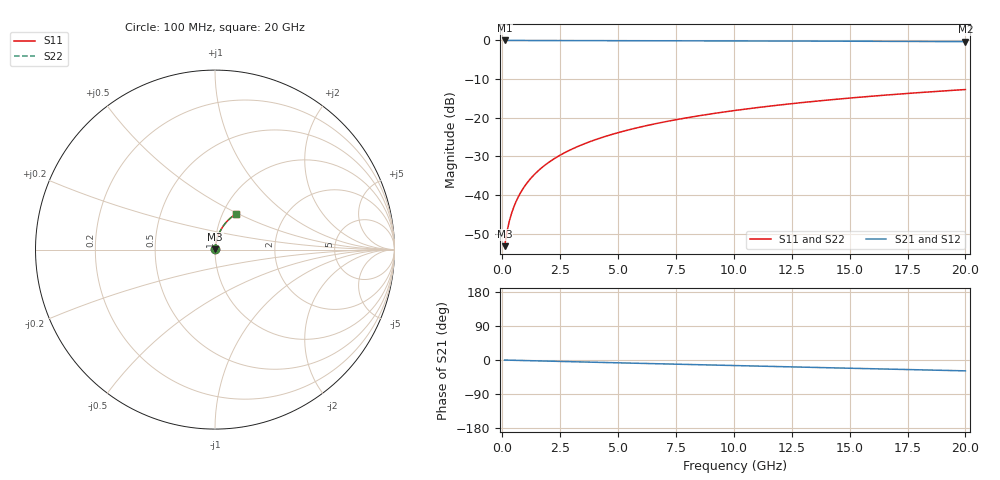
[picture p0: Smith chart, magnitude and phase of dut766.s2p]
! Touchstone file exported from HFSS 2026.1.0
!  File:  C:/ffzhzh/LocalFiles/Ansys_Project_Files/temp_train_BSMRDL_766_1783169134_22436.aedt
!  Generated:  08:46:51 PM Jul  4, 2026
!  Design:  BSMRDL
!  Project:  temp_train_BSMRDL_766_1783169134_22436
! Variables:
!  h_bsmrdl = 4.86um
!  h_ox = 20um
!  h_rdl = 5um
!  h_sub = 80um
!  h_tmrdl = 5um
!  h_tsv = 80um
!  h_via = 3um
!  l_bsmrdl = 430.03um
!  l_sub = 830.03um
!  l_tmrdl = 200um
!  m_sub = 200um
!  pitch = 41.58um
!  r_tsv = 6um
!  s_tmrdl = 10um
!  w_bsmrdl = 21.82um
!  w_sub = 500um
!  w_tmrdl = 12um
!  x_tsv_center1 = 206um
!  x_tsv_center2 = 657.85um
!  x_tsv_center3 = 869.85um
!  x_tsv_center4 = 1321.7um
!  x_tsv_center5 = 1533.7um
!  x_tsv_center6 = 1985.55um
# GHz S MA R 50.000000
! Terminal data exported
! Port[1] = BSM_RDL1_1_T1
! Port[2] = BSM_RDL1_1_T2
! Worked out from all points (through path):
!   200 points, 100 MHz to 20 GHz, reference 50 ohm
!   highest |S21| = -0.01 dB at 100 MHz (marker M1); lowest = -0.3 dB at 20 GHz (marker M2)
!   group delay of S21, straight-line fit = 3.97 ps
!   lowest |S11| = -53.2 dB at 100 MHz (marker M3), VSWR 1.00, Z = 50.2 + j0.147 ohm
!   |S11| at or under -10 dB: start of sweep to end of sweep
!   |S22| runs from -53.2 to -12.7 dB; largest |S21 - S12| = 2.1e-15
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0.1  0.002182 42.3  0.9984 -0.2  0.9984 -0.2  0.002182 42.3
! Gamma 0 0 0 0
! Port Impedance 50 0 50 0
0.2  0.003335 58.5  0.9983 -0.3  0.9983 -0.3  0.003335 58.5
0.3  0.004552 66.0  0.9982 -0.5  0.9982 -0.5  0.004552 66.0
0.4  0.005789 70.4  0.9981 -0.6  0.9981 -0.6  0.005789 70.4
0.5  0.007043 73.4  0.9981 -0.8  0.9981 -0.8  0.007043 73.4
0.6  0.00831 75.4  0.998 -0.9  0.998 -0.9  0.00831 75.4
0.8  0.01087 78.0  0.9979 -1.2  0.9979 -1.2  0.01087 78.0
1.1  0.01475 80.1  0.9978 -1.7  0.9978 -1.7  0.01475 80.0
1.5  0.01993 81.2  0.9975 -2.3  0.9975 -2.3  0.01993 81.2
1.8  0.02382 81.5  0.9973 -2.7  0.9973 -2.7  0.02382 81.5
2.1  0.02769 81.6  0.9971 -3.2  0.9971 -3.2  0.02769 81.6
2.7  0.03537 81.3  0.9965 -4.1  0.9965 -4.1  0.03537 81.3
3.5  0.04548 80.6  0.9957 -5.2  0.9957 -5.2  0.04548 80.6
4.2  0.05422 79.8  0.9948 -6.3  0.9948 -6.3  0.05422 79.8
5  0.06409 78.9  0.9938 -7.4  0.9938 -7.4  0.06409 78.9
5.9  0.07505 77.8  0.9926 -8.8  0.9926 -8.8  0.07505 77.8
6.8  0.0859 76.6  0.9913 -10.1  0.9913 -10.1  0.0859 76.6
8.3  0.1037 74.7  0.989 -12.2  0.989 -12.2  0.1037 74.7
10.1  0.1247 72.4  0.986 -14.8  0.986 -14.8  0.1247 72.4
13.4  0.1621 68.0  0.9797 -19.5  0.9797 -19.5  0.1621 68.0
16.7  0.1977 63.7  0.9725 -24.1  0.9725 -24.1  0.1977 63.6
20  0.2315 59.3  0.9644 -28.6  0.9644 -28.6  0.2315 59.3
